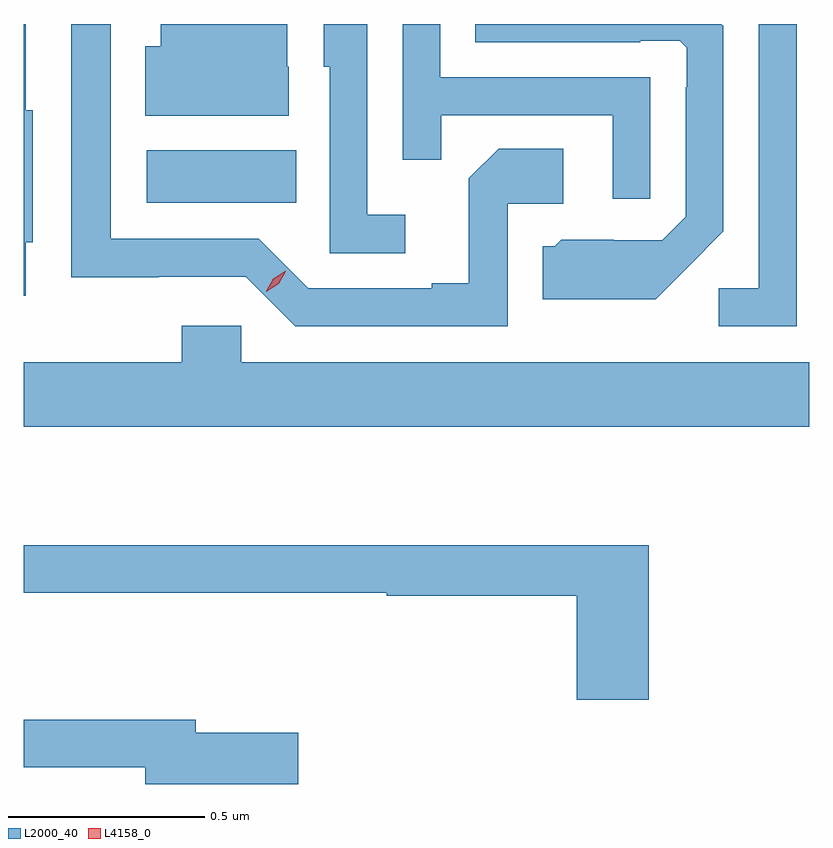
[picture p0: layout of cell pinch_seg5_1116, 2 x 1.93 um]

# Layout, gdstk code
import gdstk
lib = gdstk.Library(unit=1e-6, precision=1e-09)
def R(c, l, rs):  # rectangles x0, y0, x1, y1
    for r in rs: c.add(gdstk.rectangle(r[:2], r[2:], *l))
def P(c, l, *ps):  # polygons
    for p in ps: c.add(gdstk.Polygon(p, *l))
L2000_40 = (2000, 40)
L4158_0 = (4158, 0)

pinch_seg5_1116 = lib.new_cell('pinch_seg5_1116')
R(pinch_seg5_1116, L2000_40, [(792.498,854.666,792.878,854.8)])
P(pinch_seg5_1116, L2000_40, [(792.19,854.565),(792.208,854.565),(792.208,854.901),(792.19,854.901),(792.19,855.121),(792.184,855.121),(792.184,854.43),(792.19,854.43)],
  [(793.873,854.501),(793.965,854.594),(793.965,855.116),(793.96,855.121),(793.334,855.121),(793.334,855.074),(793.754,855.074),(793.754,855.078),(793.854,855.078),(793.872,855.06),(793.872,854.96),(793.869,854.96),(793.869,854.631),(793.809,854.571),(793.686,854.571),(793.686,854.572),(793.552,854.572),(793.536,854.556),(793.505,854.556),(793.505,854.42),(793.793,854.42)],
  [(792.859,855.012),(792.855,855.012),(792.855,855.121),(792.533,855.121),(792.533,855.064),(792.494,855.064),(792.494,854.888),(792.859,854.888)],
  [(793.779,854.985),(793.245,854.985),(793.245,855.121),(793.149,855.121),(793.149,854.776),(793.247,854.776),(793.247,854.889),(793.683,854.889),(793.683,854.676),(793.779,854.676)],
  [(794.151,855.121),(794.055,855.121),(794.055,854.448),(793.953,854.448),(793.953,854.352),(794.151,854.352)],
  [(793.156,854.635),(793.059,854.635),(793.059,855.121),(792.948,855.121),(792.948,855.012),(792.963,855.012),(792.963,854.538),(793.156,854.538)],
  [(793.416,854.664),(793.558,854.664),(793.558,854.804),(793.393,854.804),(793.317,854.728),(793.317,854.461),(793.223,854.461),(793.223,854.448),(792.909,854.448),(792.783,854.574),(792.406,854.574),(792.406,855.121),(792.305,855.121),(792.305,854.477),(792.528,854.477),(792.528,854.478),(792.75,854.478),(792.876,854.352),(793.416,854.352)],
  [(794.184,854.26),(792.738,854.26),(792.738,854.353),(792.587,854.353),(792.587,854.26),(792.184,854.26),(792.184,854.096),(794.184,854.096)],
  [(793.775,853.795),(792.184,853.795),(792.184,853.674),(793.108,853.674),(793.108,853.666),(793.592,853.666),(793.592,853.401),(793.775,853.401)],
  [(792.883,853.317),(792.622,853.317),(792.622,853.351),(792.184,853.351),(792.184,853.23),(792.494,853.23),(792.494,853.187),(792.883,853.187)])
P(pinch_seg5_1116, L4158_0, [(792.802,854.44),(792.802,854.441),(792.819,854.473),(792.851,854.493),(792.851,854.493),(792.851,854.492),(792.834,854.46),(792.802,854.44)])

lib.write_gds('pinch_seg5_1116.gds')
